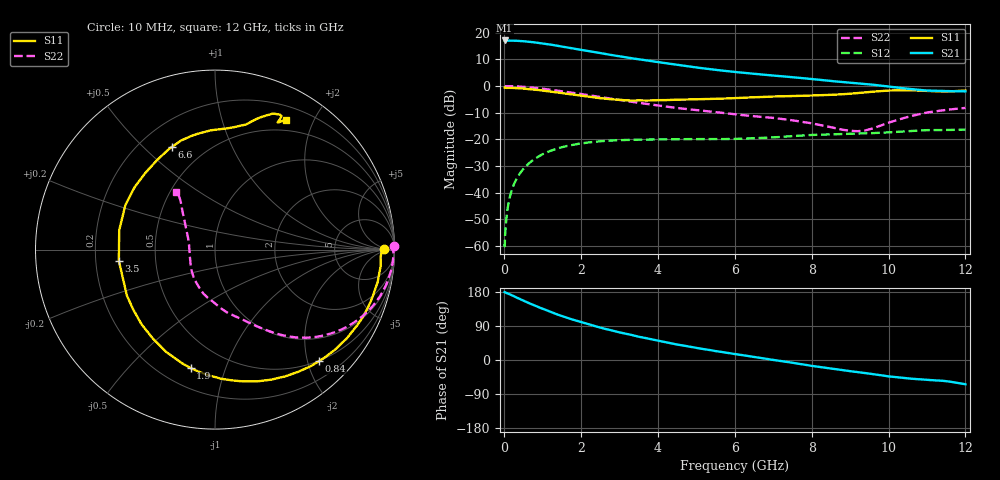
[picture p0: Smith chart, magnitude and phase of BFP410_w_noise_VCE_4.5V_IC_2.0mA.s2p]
! Infineon Technologies  Discrete & RF Semiconductors
! BFP410
! VCE =  4.5 V,  IC =  2.0 mA
! Common Emitter S-Parameters:  Nov 2015
# GHz  S  MA  R  50
!  f  S11  S21  S12  S22
! GHz  MAG  ANG  MAG  ANG  MAG  ANG  MAG  ANG
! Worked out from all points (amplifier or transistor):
!   243 points, 10 MHz to 12 GHz, reference 50 ohm
!   highest |S21| = 17.1 dB at 10 MHz (marker M1)
!   |S21| within 3 dB of that: start of sweep to 1.785 GHz
!   unconditionally stable (mu >= 1): 4.096 GHz to end of sweep
!   at 240 MHz: K = 0.09, MSG = 27.1 dB, |S12| = -37.3 dB
!   at 1.84 GHz: K = 0.37, MSG = 17.9 dB, |S12| = -21.9 dB
!   at 12 GHz: K = 1.13, MAG = 5.0 dB, |S12| = -16.3 dB
!   lowest NFmin = 0.82 dB at 900 MHz
!   S11 on the Smith chart (normalised r, x): 10 MHz: 32, +3; 840 MHz: 0.49, -2.21; 1.9 GHz: 0.32, -0.77; 3.5 GHz: 0.30, -0.05; 6.6 GHz: 0.33, +0.61; 12 GHz: 0.36, +1.63
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0.01  0.9393 0.3  7.151 179.2  0.0011 -15.7  1 1.2
0.085  0.9262 -4.6  7.103 175.8  0.0049 78.3  0.9941 -2.0
0.22  0.9221 -12.3  7.08 169.7  0.0126 80.2  0.9897 -5.9
0.44  0.9045 -24.7  6.968 159.6  0.0248 75.4  0.9733 -11.6
0.6  0.8857 -33.7  6.814 152.0  0.0334 71.0  0.9554 -15.9
0.84  0.8495 -47.0  6.509 141.7  0.0454 64.3  0.9196 -21.7
1.1  0.8068 -61.2  6.141 131.0  0.057 57.4  0.8744 -27.7
1.3  0.772 -71.8  5.823 123.2  0.0648 52.2  0.8369 -31.9
1.6  0.7205 -87.2  5.353 112.4  0.0744 45.2  0.7795 -37.5
1.9  0.6739 -101.6  4.906 102.9  0.0821 39.0  0.726 -42.4
2.02  0.656 -107.0  4.731 99.3  0.0846 36.7  0.7055 -44.1
2.64  0.5788 -136.3  3.978 81.8  0.094 25.9  0.599 -52.3
3  0.5538 -152.4  3.609 72.9  0.097 20.9  0.5458 -56.4
3.5  0.5393 -173.4  3.177 61.4  0.099 15.3  0.4847 -61.6
4.1  0.5442 165.5  2.749 49.0  0.1006 10.5  0.4234 -68.0
5  0.5674 142.0  2.231 31.8  0.1014 4.8  0.3543 -79.6
6.1  0.598 121.0  1.808 14.3  0.1027 1.7  0.2909 -92.1
6.6  0.6196 113.0  1.671 6.5  0.1058 0.9  0.2681 -99.6
8.2  0.6706 88.1  1.311 -18.3  0.1225 -5.6  0.1871 -131.2
9.2  0.7405 74.2  1.123 -31.9  0.1285 -10.3  0.1426 -178.4
10.2  0.8291 65.6  0.943 -45.2  0.1384 -14.1  0.2282 137.6
12  0.826 61.3  0.795 -64.1  0.1527 -27.3  0.3895 124.1
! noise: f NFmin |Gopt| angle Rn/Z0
0.45  0.86  0.5  7  0.29
0.9  0.82  0.48  21  0.27
1.8  1.05  0.37  55  0.23
2.4  1.09  0.36  63  0.19
5.5  2.24  0.36  -145  0.21
10  3.98  0.7  -56  2.38
